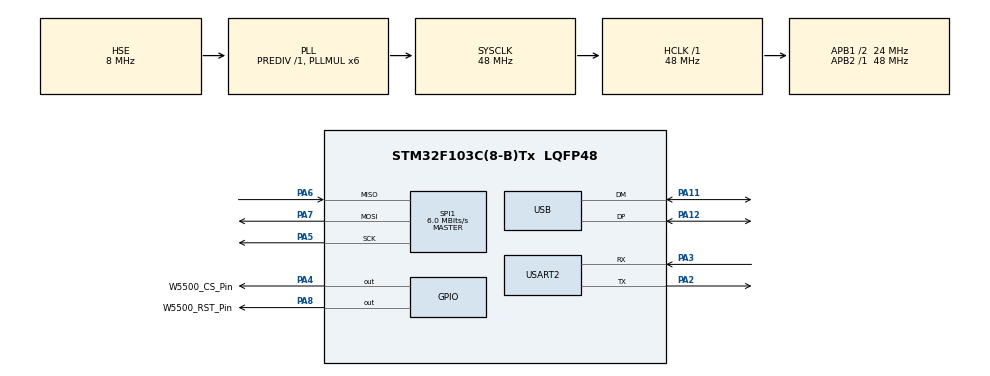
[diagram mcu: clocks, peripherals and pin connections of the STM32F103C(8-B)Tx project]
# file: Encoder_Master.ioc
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Mcu.Family=STM32F1
Mcu.Name=STM32F103C(8-B)Tx
Mcu.Package=LQFP48
NVIC.PriorityGroup=NVIC_PRIORITYGROUP_4
NVIC.USART2_IRQn=true\:0\:0\:false\:false\:true\:true\:true\:true
NVIC.USB_LP_CAN1_RX0_IRQn=true\:0\:0\:false\:false\:true\:false\:true\:true
PA11.Mode=Device
PA11.Signal=USB_DM
PA12.Mode=Device
PA12.Signal=USB_DP
PA13.Mode=Serial_Wire
PA13.Signal=SYS_JTMS-SWDIO
PA14.Mode=Serial_Wire
PA14.Signal=SYS_JTCK-SWCLK
PA2.Mode=Asynchronous
PA2.Signal=USART2_TX
PA3.Mode=Asynchronous
PA3.Signal=USART2_RX
PA4.GPIO_Label=W5500_CS_Pin
PA4.Signal=GPIO_Output
PA5.Mode=Full_Duplex_Master
PA5.Signal=SPI1_SCK
PA6.Mode=Full_Duplex_Master
PA6.Signal=SPI1_MISO
PA7.Mode=Full_Duplex_Master
PA7.Signal=SPI1_MOSI
PA8.GPIO_Label=W5500_RST_Pin
PA8.Signal=GPIO_Output
PD0-OSC_IN.Mode=HSE-External-Oscillator
PD0-OSC_IN.Signal=RCC_OSC_IN
PD1-OSC_OUT.Mode=HSE-External-Oscillator
PD1-OSC_OUT.Signal=RCC_OSC_OUT
ProjectManager.HeapSize=0x200
ProjectManager.StackSize=0x400
ProjectManager.TargetToolchain=STM32CubeIDE
RCC.AHBFreq_Value=48000000
RCC.APB1CLKDivider=RCC_HCLK_DIV2
RCC.APB1Freq_Value=24000000
RCC.APB1TimFreq_Value=48000000
RCC.APB2Freq_Value=48000000
RCC.APB2TimFreq_Value=48000000
RCC.HCLKFreq_Value=48000000
RCC.PLLMUL=RCC_PLL_MUL6
RCC.SYSCLKFreq_VALUE=48000000
RCC.SYSCLKSource=RCC_SYSCLKSOURCE_PLLCLK
RCC.USBFreq_Value=48000000
SPI1.BaudRatePrescaler=SPI_BAUDRATEPRESCALER_8
SPI1.CLKPhase=SPI_PHASE_1EDGE
SPI1.CLKPolarity=SPI_POLARITY_LOW
SPI1.CalculateBaudRate=6.0 MBits/s
SPI1.Direction=SPI_DIRECTION_2LINES
SPI1.Mode=SPI_MODE_MASTER
SPI1.VirtualType=VM_MASTER
USART2.VirtualMode=VM_ASYNC
USB_DEVICE.CLASS_NAME_FS=CDC
USB_DEVICE.VirtualMode=Cdc
USB_DEVICE.VirtualModeFS=Cdc_FS
VP_USB_DEVICE_VS_USB_DEVICE_CDC_FS.Mode=CDC_FS
board=custom

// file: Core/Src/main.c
/* USER CODE BEGIN Header */
/**
 ******************************************************************************
 * @file           : main.c
 * @brief          : Main program body
 ******************************************************************************
 * @attention
 *
 * Copyright (c) 2026 STMicroelectronics.
 * All rights reserved.
 *
 * This software is licensed under terms that can be found in the LICENSE file
 * in the root directory of this software component.
 * If no LICENSE file comes with this software, it is provided AS-IS.
 *
 ******************************************************************************
 */
/* USER CODE END Header */
#include "main.h"
#include "usb_device.h"

/* USER CODE BEGIN Includes */
#include "usbd_cdc_if.h"
#include <string.h>
#include "wizchip_conf.h"
#include "socket.h"
#include "app_usb_log.h"
#include "app_usb_logic.h"
#include "app_ethernet.h"
#include "app_uart_logic.h"
#include <stdbool.h>

extern volatile uint8_t rx_flag;
extern uint8_t rx_data;

/* USER CODE END Includes */

SPI_HandleTypeDef hspi1;

UART_HandleTypeDef huart2;

/* USER CODE BEGIN PV */

uint8_t uart_rx_data;
uint8_t uart_rx_buffer[64];
uint8_t uart_rx_index = 0;
bool uart_is_collecting = false;
volatile uint8_t uart_msg_ready = 0;

/* USER CODE END PV */

void SystemClock_Config(void);
static void MX_GPIO_Init(void);
static void MX_USART2_UART_Init(void);
static void MX_SPI1_Init(void);

int main(void)
{

  /* MCU Configuration--------------------------------------------------------*/

  /* Reset of all peripherals, Initializes the Flash interface and the Systick. */
  HAL_Init();

  /* Configure the system clock */
  SystemClock_Config();

  /* Initialize all configured peripherals */
  MX_GPIO_Init();
  MX_USB_DEVICE_Init();
  MX_USART2_UART_Init();
  MX_SPI1_Init();
  /* USER CODE BEGIN 2 */

  HAL_UART_Receive_IT(&huart2, &uart_rx_data, 1);
  App_Ethernet_Init();

  /* USER CODE END 2 */

  /* Infinite loop */
  /* USER CODE BEGIN WHILE */

	while (1) {

		App_Ethernet_Process();
		Process_USB_To_Interfaces();
		Process_UART_Communication();

	}

    /* USER CODE END WHILE */

}

void SystemClock_Config(void)
{
  RCC_OscInitTypeDef RCC_OscInitStruct = {0};
  RCC_ClkInitTypeDef RCC_ClkInitStruct = {0};
  RCC_PeriphCLKInitTypeDef PeriphClkInit = {0};

  /** Initializes the RCC Oscillators according to the specified parameters
  * in the RCC_OscInitTypeDef structure.
  */
  RCC_OscInitStruct.OscillatorType = RCC_OSCILLATORTYPE_HSE;
  RCC_OscInitStruct.HSEState = RCC_HSE_ON;
  RCC_OscInitStruct.HSEPredivValue = RCC_HSE_PREDIV_DIV1;
  RCC_OscInitStruct.HSIState = RCC_HSI_ON;
  RCC_OscInitStruct.PLL.PLLState = RCC_PLL_ON;
  RCC_OscInitStruct.PLL.PLLSource = RCC_PLLSOURCE_HSE;
  RCC_OscInitStruct.PLL.PLLMUL = RCC_PLL_MUL6;
  if (HAL_RCC_OscConfig(&RCC_OscInitStruct) != HAL_OK)
  {
    Error_Handler();
  }

  /** Initializes the CPU, AHB and APB buses clocks
  */
  RCC_ClkInitStruct.ClockType = RCC_CLOCKTYPE_HCLK|RCC_CLOCKTYPE_SYSCLK
                              |RCC_CLOCKTYPE_PCLK1|RCC_CLOCKTYPE_PCLK2;
  RCC_ClkInitStruct.SYSCLKSource = RCC_SYSCLKSOURCE_PLLCLK;
  RCC_ClkInitStruct.AHBCLKDivider = RCC_SYSCLK_DIV1;
  RCC_ClkInitStruct.APB1CLKDivider = RCC_HCLK_DIV2;
  RCC_ClkInitStruct.APB2CLKDivider = RCC_HCLK_DIV1;

  if (HAL_RCC_ClockConfig(&RCC_ClkInitStruct, FLASH_LATENCY_1) != HAL_OK)
  {
    Error_Handler();
  }
  PeriphClkInit.PeriphClockSelection = RCC_PERIPHCLK_USB;
  PeriphClkInit.UsbClockSelection = RCC_USBCLKSOURCE_PLL;
  if (HAL_RCCEx_PeriphCLKConfig(&PeriphClkInit) != HAL_OK)
  {
    Error_Handler();
  }
}

static void MX_SPI1_Init(void)
{

  /* SPI1 parameter configuration*/
  hspi1.Instance = SPI1;
  hspi1.Init.Mode = SPI_MODE_MASTER;
  hspi1.Init.Direction = SPI_DIRECTION_2LINES;
  hspi1.Init.DataSize = SPI_DATASIZE_8BIT;
  hspi1.Init.CLKPolarity = SPI_POLARITY_LOW;
  hspi1.Init.CLKPhase = SPI_PHASE_1EDGE;
  hspi1.Init.NSS = SPI_NSS_SOFT;
  hspi1.Init.BaudRatePrescaler = SPI_BAUDRATEPRESCALER_8;
  hspi1.Init.FirstBit = SPI_FIRSTBIT_MSB;
  hspi1.Init.TIMode = SPI_TIMODE_DISABLE;
  hspi1.Init.CRCCalculation = SPI_CRCCALCULATION_DISABLE;
  hspi1.Init.CRCPolynomial = 10;
  if (HAL_SPI_Init(&hspi1) != HAL_OK)
  {
    Error_Handler();
  }

}

static void MX_USART2_UART_Init(void)
{

  huart2.Instance = USART2;
  huart2.Init.BaudRate = 115200;
  huart2.Init.WordLength = UART_WORDLENGTH_8B;
  huart2.Init.StopBits = UART_STOPBITS_1;
  huart2.Init.Parity = UART_PARITY_NONE;
  huart2.Init.Mode = UART_MODE_TX_RX;
  huart2.Init.HwFlowCtl = UART_HWCONTROL_NONE;
  huart2.Init.OverSampling = UART_OVERSAMPLING_16;
  if (HAL_UART_Init(&huart2) != HAL_OK)
  {
    Error_Handler();
  }

}

static void MX_GPIO_Init(void)
{
  GPIO_InitTypeDef GPIO_InitStruct = {0};

  /* GPIO Ports Clock Enable */
  __HAL_RCC_GPIOD_CLK_ENABLE();
  __HAL_RCC_GPIOA_CLK_ENABLE();

  /*Configure GPIO pin Output Level */
  HAL_GPIO_WritePin(GPIOA, W5500_CS_Pin_Pin|W5500_RST_Pin_Pin, GPIO_PIN_RESET);

  /*Configure GPIO pins : W5500_CS_Pin_Pin W5500_RST_Pin_Pin */
  GPIO_InitStruct.Pin = W5500_CS_Pin_Pin|W5500_RST_Pin_Pin;
  GPIO_InitStruct.Mode = GPIO_MODE_OUTPUT_PP;
  GPIO_InitStruct.Pull = GPIO_NOPULL;
  GPIO_InitStruct.Speed = GPIO_SPEED_FREQ_LOW;
  HAL_GPIO_Init(GPIOA, &GPIO_InitStruct);

}

/* USER CODE BEGIN 4 */
void HAL_UART_RxCpltCallback(UART_HandleTypeDef *huart) {
	if (huart->Instance == USART2) {
	        if (uart_rx_data == '$') {           // Увидели начало пакета
	        	uart_rx_index = 0;               // Сбрасываем индекс
	        	uart_is_collecting = true;       // Начинаем копить
	        	uart_msg_ready = 0;              // Старый пакет больше не важен
	        }
	        else if (uart_is_collecting) {       // Если мы уже "в процессе"
	            if (uart_rx_data == '\n') {      // Увидели конец
	            	uart_rx_buffer[uart_rx_index] = '\0';
	                uart_is_collecting = false;
	                uart_msg_ready = 1;          // Пакет готов к обработке!
	            } else {
	            	uart_rx_buffer[uart_rx_index++] = uart_rx_data;
	                if (uart_rx_index >= 60) uart_rx_index = 0; // Защита от переполнения
	            }
	        }

	        HAL_UART_Receive_IT(&huart2, &uart_rx_data, 1); // Ждем следующий байт
	    }
	}
/* USER CODE END 4 */

void Error_Handler(void)
{
	__disable_irq();
	while (1) {
	}
}
